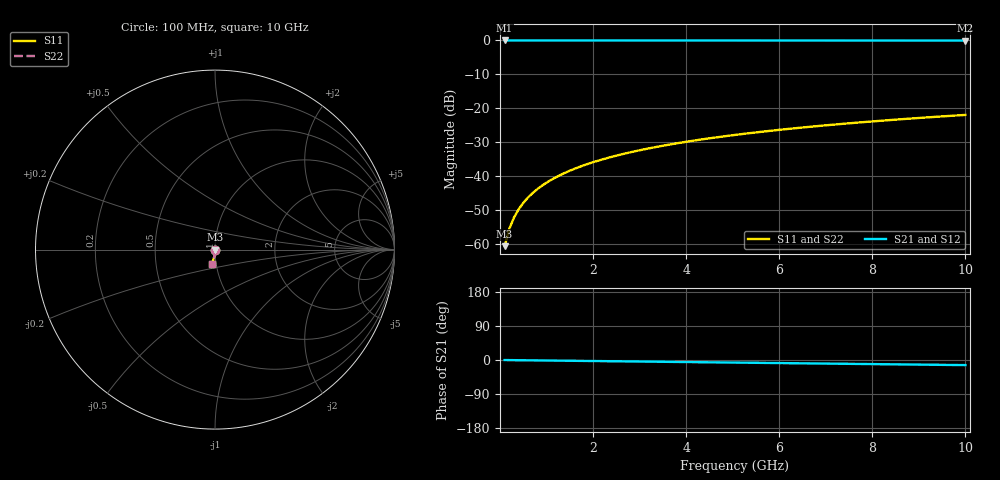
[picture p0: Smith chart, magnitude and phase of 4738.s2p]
# Hz S RI R 50.00
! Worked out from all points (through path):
!   100 points, 100 MHz to 10 GHz, reference 50 ohm
!   highest |S21| = 0.00 dB at 100 MHz (marker M1); lowest = 0.0 dB at 10 GHz (marker M2)
!   group delay of S21, straight-line fit = 3.75 ps
!   lowest |S11| = -60.6 dB at 100 MHz (marker M3), VSWR 1.00, Z = 50 - j0.0807 ohm
!   |S11| at or under -10 dB: start of sweep to end of sweep
!   |S22| runs from -60.6 to -21.9 dB; largest |S21 - S12| = 0
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1e8  0.000479 -0.000807  0.9995 -0.00235  0.9995 -0.00235  0.000479 -0.000807
2e8  0.000475 -0.00161  0.9995 -0.0047  0.9995 -0.0047  0.000475 -0.00161
3e8  0.000466 -0.00242  0.9995 -0.00705  0.9995 -0.00705  0.000466 -0.00242
4e8  0.000453 -0.00323  0.9995 -0.0094  0.9995 -0.0094  0.000453 -0.00323
5e8  0.000437 -0.00403  0.9994 -0.0117  0.9994 -0.0117  0.000437 -0.00403
6e8  0.000416 -0.00484  0.9994 -0.0141  0.9994 -0.0141  0.000416 -0.00484
7e8  0.000391 -0.00565  0.9993 -0.0164  0.9993 -0.0164  0.000391 -0.00565
8e8  0.000362 -0.00645  0.9993 -0.0188  0.9993 -0.0188  0.000362 -0.00645
9e8  0.00033 -0.00726  0.9992 -0.0211  0.9992 -0.0211  0.00033 -0.00726
1.1e9  0.000253 -0.00887  0.9991 -0.0258  0.9991 -0.0258  0.000253 -0.00887
1.4e9  0.00011 -0.0113  0.9989 -0.0329  0.9989 -0.0329  0.00011 -0.0113
1.8e9  -0.000136 -0.0145  0.9985 -0.0423  0.9985 -0.0423  -0.000136 -0.0145
2.1e9  -0.000359 -0.0169  0.9981 -0.0493  0.9981 -0.0493  -0.000359 -0.0169
2.5e9  -0.000711 -0.0201  0.9975 -0.0587  0.9975 -0.0587  -0.000711 -0.0201
2.9e9  -0.00112 -0.0233  0.9968 -0.0681  0.9968 -0.0681  -0.00112 -0.0233
3.4e9  -0.00172 -0.0273  0.9959 -0.0798  0.9959 -0.0798  -0.00172 -0.0273
4.2e9  -0.00288 -0.0337  0.994 -0.0985  0.994 -0.0985  -0.00288 -0.0337
5.1e9  -0.00447 -0.0408  0.9914 -0.1196  0.9914 -0.1196  -0.00447 -0.0408
5.9e9  -0.00613 -0.0471  0.9886 -0.1382  0.9886 -0.1382  -0.00613 -0.0471
6.7e9  -0.00804 -0.0533  0.9855 -0.1568  0.9855 -0.1568  -0.00804 -0.0533
8.4e9  -0.0129 -0.0663  0.9776 -0.196  0.9776 -0.196  -0.0129 -0.0663
1e10  -0.0183 -0.078  0.9685 -0.2326  0.9685 -0.2326  -0.0183 -0.078
